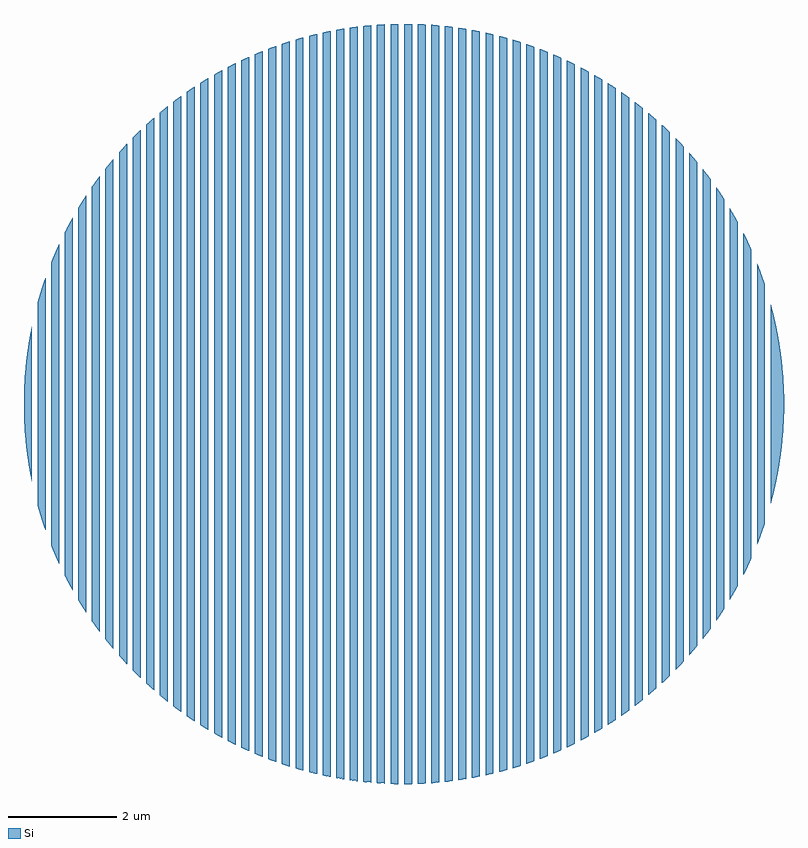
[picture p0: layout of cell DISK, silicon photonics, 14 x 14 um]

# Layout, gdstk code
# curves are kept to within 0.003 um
import gdstk
lib = gdstk.Library(unit=1e-6, precision=1e-09)
def P(c, l, *ps):  # polygons
    for p in ps: c.add(gdstk.Polygon(p, *l))
Si = (1, 0)

disk = lib.new_cell('DISK')
P(disk, Si, [(12.003,2.105),(12.003,11.891),(12.148,11.737),(12.148,2.259)],
  [(11.502,1.64),(11.502,12.356),(11.647,12.226),(11.647,1.77)],
  [(11.002,1.259),(11.002,12.737),(11.079,12.685),(11.147,12.632),(11.147,1.364),(11.079,1.311)],
  [(10.253,0.802),(10.253,13.194),(10.393,13.119),(10.398,13.112),(10.398,0.884),(10.393,0.877)],
  [(9.752,0.564),(9.752,13.432),(9.897,13.367),(9.897,0.629)],
  [(12.751,3.012),(12.751,10.984),(12.897,10.764),(12.897,3.232)],
  [(9.252,0.371),(9.252,13.625),(9.397,13.57),(9.397,0.426)],
  [(9,0.291),(9,13.705),(9.145,13.658),(9.145,0.338)],
  [(13.5,4.412),(13.5,9.584),(13.555,9.448),(13.646,9.189),(13.646,4.807),(13.555,4.548)],
  [(8.503,0.163),(8.503,13.833),(8.622,13.807),(8.645,13.798),(8.645,0.198),(8.622,0.189)],
  [(9.5,0.462),(9.5,13.534),(9.646,13.476),(9.646,0.52)],
  [(8.251,0.112),(8.249,13.882),(8.254,13.884),(8.396,13.854),(8.396,0.142)],
  [(8.002,0.072),(8.002,13.924),(8.135,13.905),(8.148,13.899),(8.148,0.097),(8.135,0.091)],
  [(8.751,0.223),(8.751,13.773),(8.891,13.737),(8.897,13.731),(8.897,0.265),(8.891,0.259)],
  [(7.502,0.018),(7.5,13.976),(7.523,13.978),(7.647,13.966),(7.647,0.03)],
  [(3.145,1.155),(3,1.255),(3,12.741),(3.145,12.841)],
  [(6.389,0.025),(6.251,0.041),(6.251,13.955),(6.277,13.961),(6.396,13.971),(6.398,0.027)],
  [(12.503,2.676),(12.503,11.32),(12.645,11.131),(12.645,2.865)],
  [(2.644,1.518),(2.499,1.64),(2.499,12.356),(2.644,12.478)],
  [(10.753,1.092),(10.753,12.904),(10.895,12.811),(10.895,1.185)],
  [(10.501,0.94),(10.501,13.056),(10.646,12.968),(10.646,1.028)],
  [(2.396,1.724),(2.266,1.839),(2.251,1.857),(2.251,12.139),(2.266,12.157),(2.396,12.272)],
  [(1.895,2.207),(1.75,2.368),(1.75,11.628),(1.895,11.789)],
  [(1.644,2.49),(1.498,2.672),(1.498,11.324),(1.644,11.506)],
  [(12.251,2.375),(12.251,11.621),(12.317,11.548),(12.396,11.45),(12.396,2.546),(12.317,2.448)],
  [(11.25,1.439),(11.25,12.557),(11.366,12.468),(11.395,12.44),(11.395,1.556),(11.366,1.528)],
  [(1.143,3.162),(1.001,3.39),(1.001,10.606),(1.143,10.834)],
  [(2.144,1.955),(1.999,2.102),(1.999,11.894),(2.144,12.041)],
  [(10.001,0.676),(10.001,13.32),(10.146,13.248),(10.146,0.748)],
  [(0.146,5.577),(0.091,5.861),(0.042,6.214),(0.025,6.421),(0.021,6.428),(0.018,6.515),(0.014,6.522),(0.004,6.711),(0.004,6.809),(0,6.816),(0,7.18),(0.004,7.187),(0.007,7.359),(0.011,7.366),(0.014,7.474),(0.018,7.481),(0.028,7.645),(0.032,7.652),(0.042,7.782),(0.046,7.789),(0.049,7.841),(0.053,7.848),(0.077,8.048),(0.119,8.293),(0.146,8.419)],
  [(4.394,0.503),(4.249,0.562),(4.249,13.434),(4.394,13.493)],
  [(13.752,5.168),(13.752,8.828),(13.772,8.762),(13.842,8.468),(13.919,8.048),(13.943,7.848),(13.947,7.841),(13.95,7.789),(13.954,7.782),(13.971,7.575),(13.975,7.568),(13.985,7.366),(13.989,7.359),(13.992,7.187),(13.996,7.18),(13.996,6.816),(13.992,6.809),(13.989,6.637),(13.985,6.63),(13.975,6.428),(13.971,6.421),(13.968,6.351),(13.964,6.344),(13.961,6.277),(13.957,6.27),(13.947,6.155),(13.943,6.148),(13.919,5.948),(13.863,5.63),(13.807,5.374)],
  [(11.751,1.861),(11.751,12.135),(11.842,12.052),(11.896,11.996),(11.896,2),(11.842,1.944)],
  [(5.882,0.088),(5.759,0.109),(5.75,0.114),(5.75,13.882),(5.819,13.898),(5.896,13.908),(5.897,0.09)],
  [(1.395,2.805),(1.25,3.005),(1.25,10.991),(1.395,11.191)],
  [(3.645,0.854),(3.5,0.937),(3.5,13.059),(3.645,13.142)],
  [(0.646,4.058),(0.56,4.251),(0.501,4.398),(0.501,9.598),(0.56,9.745),(0.646,9.938)],
  [(13,3.397),(13,10.599),(13.145,10.344),(13.145,3.652)],
  [(0.394,4.681),(0.315,4.916),(0.249,5.143),(0.249,8.853),(0.315,9.08),(0.394,9.315)],
  [(3.393,1),(3.248,1.091),(3.248,12.905),(3.393,12.996)],
  [(13.252,3.855),(13.252,10.141),(13.397,9.833),(13.397,4.163)],
  [(2.893,1.329),(2.751,1.437),(2.751,12.559),(2.893,12.667)],
  [(4.146,0.608),(4.001,0.674),(4.001,13.322),(4.146,13.388)],
  [(4.643,0.408),(4.501,0.461),(4.501,13.535),(4.643,13.588)],
  [(4.895,0.322),(4.765,0.364),(4.749,0.373),(4.749,13.623),(4.765,13.632),(4.895,13.674)],
  [(5.143,0.249),(5.01,0.287),(5.001,0.293),(5.001,13.703),(5.01,13.709),(5.143,13.747)],
  [(7.75,0.039),(7.75,13.957),(7.896,13.938),(7.896,0.058)],
  [(5.392,0.186),(5.25,0.223),(5.25,13.773),(5.395,13.81),(5.397,0.188)],
  [(5.644,0.132),(5.498,0.163),(5.498,13.833),(5.644,13.864)],
  [(0.895,3.572),(0.749,3.845),(0.749,10.151),(0.895,10.424)],
  [(6.127,0.053),(5.999,0.072),(5.999,13.924),(6.144,13.943),(6.146,0.055)],
  [(6.637,0.007),(6.63,0.011),(6.522,0.014),(6.499,0.02),(6.499,13.976),(6.522,13.982),(6.63,13.985),(6.644,13.989),(6.646,0.009)],
  [(7.25,0.004),(7.248,13.99),(7.285,13.992),(7.359,13.989),(7.395,13.983),(7.395,0.013),(7.359,0.007)],
  [(3.894,0.725),(3.749,0.8),(3.749,13.196),(3.894,13.271)],
  [(6.816,0),(6.809,0.004),(6.751,0.006),(6.751,13.99),(6.809,13.992),(6.816,13.996),(6.893,13.996),(6.895,0.002)],
  [(7.002,0),(7,0.002),(7,13.994),(7.002,13.996),(7.145,13.996),(7.147,13.994),(7.147,0.002),(7.145,0)])

lib.write_gds('DISK.gds')
